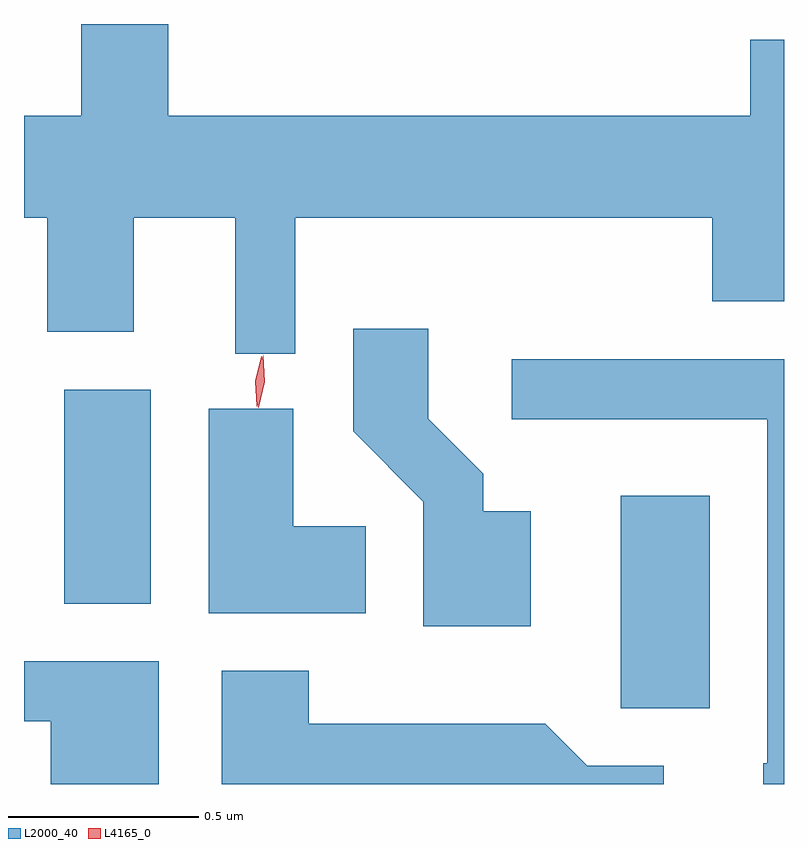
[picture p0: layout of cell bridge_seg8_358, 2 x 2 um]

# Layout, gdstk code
import gdstk
lib = gdstk.Library(unit=1e-6, precision=1e-09)
def R(c, l, rs):  # rectangles x0, y0, x1, y1
    for r in rs: c.add(gdstk.rectangle(r[:2], r[2:], *l))
def P(c, l, *ps):  # polygons
    for p in ps: c.add(gdstk.Polygon(p, *l))
L2000_40 = (2000, 40)
L4165_0 = (4165, 0)

bridge_seg8_358 = lib.new_cell('bridge_seg8_358')
R(bridge_seg8_358, L2000_40, [(624.111,1923.926,624.344,1924.484), (622.646,1924.201,622.874,1924.764)])
P(bridge_seg8_358, L2000_40, [(623.254,1925.216),(624.351,1925.216),(624.351,1924.996),(624.54,1924.996),(624.54,1925.684),(624.451,1925.684),(624.451,1925.484),(622.919,1925.484),(622.919,1925.726),(622.691,1925.726),(622.691,1925.484),(622.54,1925.484),(622.54,1925.216),(622.601,1925.216),(622.601,1924.916),(622.829,1924.916),(622.829,1925.216),(623.096,1925.216),(623.096,1924.858),(623.254,1924.858)],
  [(623.874,1924.444),(623.749,1924.444),(623.749,1924.542),(623.604,1924.687),(623.604,1924.924),(623.406,1924.924),(623.406,1924.654),(623.591,1924.469),(623.591,1924.141),(623.874,1924.141)],
  [(624.54,1924.844),(623.823,1924.844),(623.823,1924.686),(624.496,1924.686),(624.496,1923.78),(624.486,1923.78),(624.486,1923.726),(624.54,1923.726)],
  [(623.439,1924.404),(623.249,1924.404),(623.249,1924.714),(623.026,1924.714),(623.026,1924.176),(623.439,1924.176)],
  [(622.894,1924.049),(622.54,1924.049),(622.54,1923.891),(622.611,1923.891),(622.611,1923.726),(622.894,1923.726)],
  [(624.223,1923.774),(624.022,1923.774),(623.912,1923.884),(623.289,1923.884),(623.289,1924.024),(623.061,1924.024),(623.061,1923.726),(624.223,1923.726)])
P(bridge_seg8_358, L4165_0, [(623.158,1924.716),(623.157,1924.717),(623.153,1924.786),(623.169,1924.854),(623.169,1924.854),(623.17,1924.854),(623.173,1924.785),(623.158,1924.717)],
  [(623.153,1924.72),(623.149,1924.786),(623.164,1924.851),(623.164,1924.852),(623.165,1924.851),(623.169,1924.785),(623.154,1924.72),(623.154,1924.72)])

lib.write_gds('bridge_seg8_358.gds')
